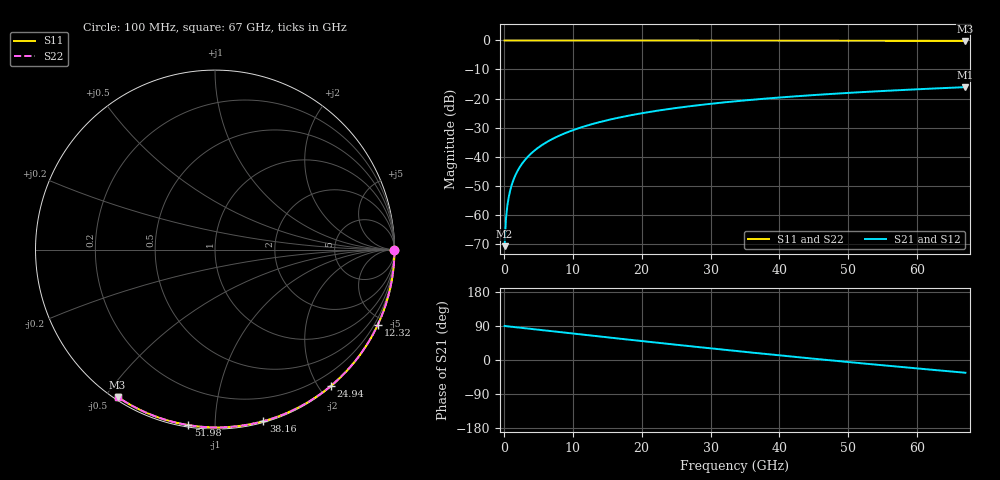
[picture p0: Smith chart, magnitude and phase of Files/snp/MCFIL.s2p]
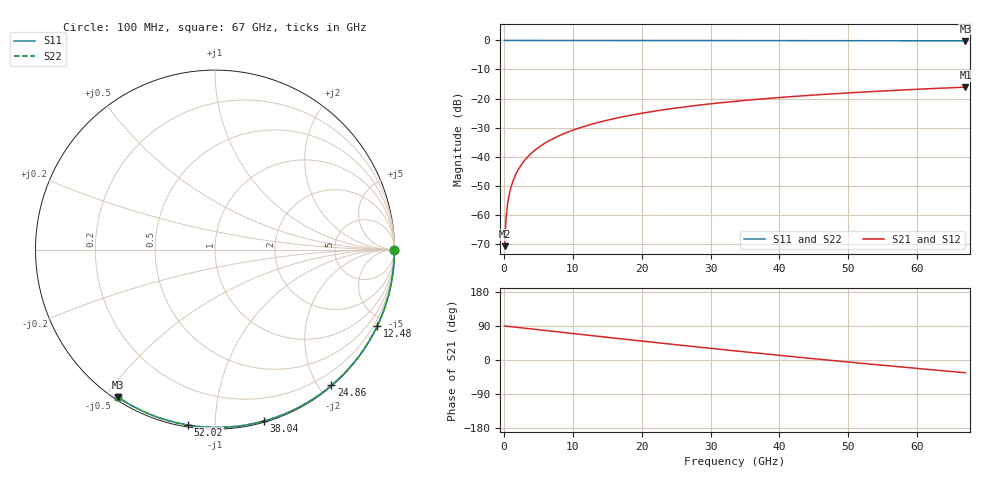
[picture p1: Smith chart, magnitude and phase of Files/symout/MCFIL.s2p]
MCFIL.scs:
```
simulator lang=local
global 0
NPORT0 1 0 2 0 nport file="D:\HowToElementBuilder\Code\Files\snp\MCFIL.s2p"
PORT0 1 0 port r=50 num=1 type=sine rptstart=1 rpttimes=0
PORT1 2 0 port r=50 num=2 type=sine rptstart=1 rpttimes=0
SPSweep sp start=100000000 stop=67000000000 step=199701492.53731343 file="D:\HowToElementBuilder\Code\Files\symout\MCFIL.s2p"
DEFAULT_OPTIONS options tnom=27 temp=27  acout=0 fast_spice=0 reltol=1.000000e-003 rawfmt=nutascii
```
Files/snp/MCFIL.s2p:
! Created with skrf (http://scikit-rf.org).
# Hz S RI R 50.0
!freq ReS11 ImS11 ReS21 ImS21 ReS12 ImS12 ReS22 ImS22
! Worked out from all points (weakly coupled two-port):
!   335 points, 100 MHz to 67 GHz, reference 50 ohm
!   highest |S21| = -16.07 dB at 67 GHz (marker M1); lowest = -70.8 dB at 100 MHz (marker M2)
!   lowest |S11| = -0.1 dB at 67 GHz (marker M3), VSWR 124.06, Z = 0.519 - j26.9 ohm
!   |S11| at or under -10 dB: nowhere
!   |S22| runs from -0.1 to 0.0 dB; largest |S21 - S12| = 5.7e-13
!   S11 on the Smith chart (normalised r, x): 100 MHz: open; 12.32 GHz: 0.01, -4.56; 24.94 GHz: 0.01, -2.17; 38.16 GHz: 0.01, -1.32; 51.98 GHz: 0.01, -0.86; 67 GHz: 0.01, -0.54
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1e8  1 -0.00352  1.24e-06 0.000287  1.24e-06 0.000287  1 -0.00352
3.002994e8  0.9999 -0.0106  9.79e-06 0.000861  9.79e-06 0.000861  0.9999 -0.0106
7.008982e8  0.9997 -0.0247  5.12e-05 0.00201  5.12e-05 0.00201  0.9997 -0.0247
2.503593e9  0.996 -0.0881  0.000638 0.00715  0.000638 0.00715  0.996 -0.0881
6.108982e9  0.9766 -0.2132  0.00374 0.0171  0.00374 0.0171  0.9766 -0.2132
1.231826e10  0.9071 -0.4184  0.0147 0.0317  0.0147 0.0317  0.9071 -0.4184
2.493713e10  0.6471 -0.758  0.0522 0.0444  0.0522 0.0444  0.6471 -0.758
3.355e10  0.4076 -0.9072  0.0817 0.0366  0.0817 0.0366  0.4076 -0.9072
3.815689e10  0.269 -0.9562  0.0963 0.0269  0.0963 0.0269  0.269 -0.9562
5.197754e10  -0.1492 -0.9778  0.1274 -0.0197  0.1274 -0.0197  -0.1492 -0.9778
6.7e10  -0.5431 -0.8205  0.1309 -0.087  0.1309 -0.087  -0.5431 -0.8205
Files/symout/MCFIL.s2p:
! Touchstone Ver. 1.0
! Number of ports is 2
# Hz  S RI  R  50
! SCATTERING PARAMETERS  :
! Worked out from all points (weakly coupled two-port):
!   336 points, 100 MHz to 67 GHz, reference 50 ohm
!   highest |S21| = -16.07 dB at 67 GHz (marker M1); lowest = -70.8 dB at 100 MHz (marker M2)
!   lowest |S11| = -0.1 dB at 67 GHz (marker M3), VSWR 124.06, Z = 0.519 - j26.9 ohm
!   |S11| at or under -10 dB: nowhere
!   |S22| runs from -0.1 to 0.0 dB; largest |S21 - S12| = 1e-10
!   S11 on the Smith chart (normalised r, x): 100 MHz: open; 12.48 GHz: 0.01, -4.50; 24.86 GHz: 0.01, -2.18; 38.04 GHz: 0.01, -1.33; 52.02 GHz: 0.01, -0.86; 67 GHz: 0.01, -0.54
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1e8  1 -0.00352  1.24e-06 0.000287  1.24e-06 0.000287  1 -0.00352
2.997015e8  0.9999 -0.0106  9.77e-06 0.000859  9.77e-06 0.000859  0.9999 -0.0106
6.991045e8  0.9997 -0.0246  5.1e-05 0.002  5.1e-05 0.002  0.9997 -0.0246
2.496418e9  0.996 -0.0878  0.000634 0.00713  0.000634 0.00713  0.996 -0.0878
6.290746e9  0.9752 -0.2195  0.00396 0.0175  0.00396 0.0175  0.9752 -0.2195
1.248149e10  0.9047 -0.4235  0.015 0.032  0.015 0.032  0.9047 -0.4235
2.486299e10  0.649 -0.7564  0.0519 0.0444  0.0519 0.0444  0.649 -0.7564
3.364985e10  0.4046 -0.9085  0.082 0.0364  0.082 0.0364  0.4046 -0.9085
3.804328e10  0.2725 -0.9552  0.096 0.0272  0.096 0.0272  0.2725 -0.9552
5.202239e10  -0.1505 -0.9776  0.1275 -0.0199  0.1275 -0.0199  -0.1505 -0.9776
6.7e10  -0.5431 -0.8205  0.1309 -0.087  0.1309 -0.087  -0.5431 -0.8205
